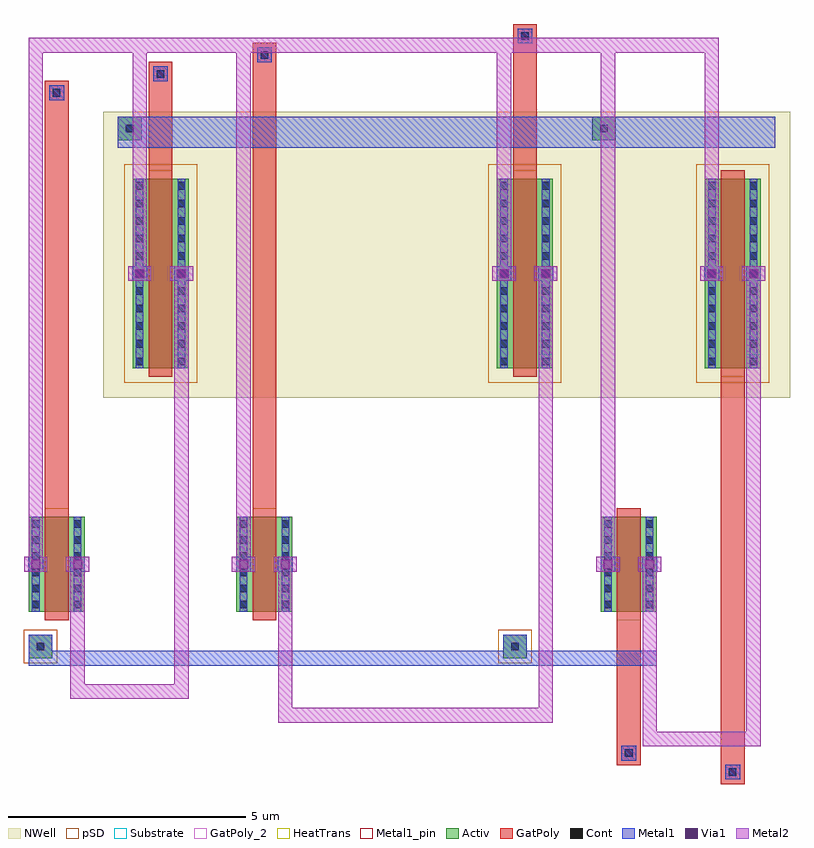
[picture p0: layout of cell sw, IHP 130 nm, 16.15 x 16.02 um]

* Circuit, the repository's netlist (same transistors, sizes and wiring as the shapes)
.subckt sw exc_out src1 src2 src3 sel0 sel0b sel1 sel1b sel2 sel2b gnd vdd
MSW1n src1 sel0 exc_out gnd sg13_lv_nmos w=2u l=0.5u ng=1 m=1
MSW1p src1 sel0b exc_out vdd sg13_lv_pmos w=4u l=0.5u ng=1 m=1
MSW2n src2 sel1 exc_out gnd sg13_lv_nmos w=2u l=0.5u ng=1 m=1
MSW2p src2 sel1b exc_out vdd sg13_lv_pmos w=4u l=0.5u ng=1 m=1
MSW3n src3 sel2 exc_out gnd sg13_lv_nmos w=2u l=0.5u ng=1 m=1
MSW3p src3 sel2b exc_out vdd sg13_lv_pmos w=4u l=0.5u ng=1 m=1
.ends sw

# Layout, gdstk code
import gdstk
lib = gdstk.Library(unit=1e-6, precision=1e-09)
def R(c, l, rs):  # rectangles x0, y0, x1, y1
    for r in rs: c.add(gdstk.rectangle(r[:2], r[2:], *l))
def A(c, l, x, y, w, h, nx, ny, dx, dy):  # array of equal rectangles
    R(c, l, [(x+i*dx, y+j*dy, x+i*dx+w, y+j*dy+h) for i in range(nx) for j in range(ny)])
Activ = (1, 0)
GatPoly = (5, 0)
GatPoly_2 = (5, 2)
Cont = (6, 0)
Metal1 = (8, 0)
Metal1_pin = (8, 2)
Metal2 = (10, 0)
pSD = (14, 0)
Via1 = (19, 0)
NWell = (31, 0)
Substrate = (40, 0)
HeatTrans = (51, 0)

nmos = lib.new_cell('nmos')
R(nmos, Activ, [(0,0,0.3,0.3), (0,0,1.18,2), (0.88,0,1.18,0.3)])
R(nmos, GatPoly, [(0.34,-0.18,0.84,2.18)])
R(nmos, GatPoly_2, [(0.34,-0.18,0.84,2.18)])
A(nmos, Cont, 0.07, 0.07, 0.16, 0.16, 1, 6, 0, 0.34)
A(nmos, Cont, 0.95, 0.07, 0.16, 0.16, 1, 6, 0, 0.34)
R(nmos, Metal1, [(0.07,0,0.23,2), (0.95,0,1.11,2)])
R(nmos, Metal1_pin, [(0.07,0,0.23,2), (0.95,0,1.11,2)])
R(nmos, HeatTrans, [(0.34,-0.18,0.84,2.18)])
nmos.add(gdstk.Label('nmos', (0.59,1), layer=63, texttype=0))
nmos.add(gdstk.Label('nmos', (0.59,1), layer=51, texttype=0))

pmos = lib.new_cell('pmos')
R(pmos, Activ, [(0,0,0.3,0.3), (0,0,1.18,4), (0.88,0,1.18,0.3)])
R(pmos, GatPoly, [(0.34,-0.18,0.84,4.18), (0.34,-0.18,0.84,4.18)])
A(pmos, Cont, 0.07, 0.07, 0.16, 0.16, 1, 11, 0, 0.37)
A(pmos, Cont, 0.95, 0.07, 0.16, 0.16, 1, 11, 0, 0.37)
R(pmos, Metal1, [(0.07,0,0.23,4), (0.07,0,0.23,4), (0.95,0,1.11,4), (0.95,0,1.11,4)])
R(pmos, pSD, [(-0.18,-0.3,1.36,4.3)])
R(pmos, NWell, [(-0.31,-0.31,1.49,4.31)])
R(pmos, Substrate, [(0.88,0,1.18,0.3)])
R(pmos, HeatTrans, [(0.34,-0.18,0.84,4.18)])
pmos.add(gdstk.Label('pmos', (0.59,2), layer=63, texttype=0))
pmos.add(gdstk.Label('pmos', (0.59,2), layer=51, texttype=0))

c_sw = lib.new_cell('sw')
R(c_sw, Activ, [(0,-0.8,0.5,-0.3), (10,-0.8,10.5,-0.3), (1.88,10.12,2.38,10.62), (11.88,10.12,12.38,10.62)])
R(c_sw, GatPoly, [(14.59,-3.45,15.09,5.13), (12.4,-3.05,12.9,0), (0.34,2.36,0.84,11.37), (4.72,2.36,5.22,12.17), (2.53,9.49,3.03,11.77), (10.21,9.49,10.71,12.57)])
R(c_sw, Cont, [(14.76,-3.28,14.92,-3.12), (12.57,-2.88,12.73,-2.72), (0.17,-0.63,0.33,-0.47), (10.17,-0.63,10.33,-0.47), (2.05,10.29,2.21,10.45), (12.05,10.29,12.21,10.45), (0.51,11.04,0.67,11.2), (2.7,11.44,2.86,11.6), (4.89,11.84,5.05,12), (10.38,12.24,10.54,12.4)])
R(c_sw, Metal1, [(14.685,-3.355,14.995,-3.045), (12.495,-2.955,12.805,-2.645), (0,-0.955,13.24,-0.645), (0,-0.8,0.5,-0.3), (10,-0.8,10.5,-0.3), (-0.005,1.025,0.305,1.335), (0.875,1.025,1.185,1.335), (4.375,1.025,4.685,1.335), (5.255,1.025,5.565,1.335), (12.055,1.025,12.365,1.335), (12.935,1.025,13.245,1.335), (2.185,7.155,2.495,7.465), (3.065,7.155,3.375,7.465), (9.865,7.155,10.175,7.465), (10.745,7.155,11.055,7.465), (14.245,7.155,14.555,7.465), (15.125,7.155,15.435,7.465), (1.88,9.965,15.74,10.62), (1.88,10.12,2.38,10.62), (11.88,10.12,12.38,10.62), (0.435,10.965,0.745,11.275), (2.625,11.365,2.935,11.675), (4.815,11.765,5.125,12.075), (10.305,12.165,10.615,12.475)])
R(c_sw, Metal2, [(12.94,-2.655,15.43,-2.345), (12.94,-2.655,13.24,1.335), (15.13,-2.655,15.43,7.465), (5.26,-2.155,5.56,1.335), (5.26,-2.155,11.05,-1.845), (10.75,-2.155,11.05,7.465), (0.88,-1.655,1.18,1.335), (0.88,-1.655,3.37,-1.345), (3.07,-1.655,3.37,7.465), (-0.095,1.025,0.395,1.335), (0,1.025,0.3,12.275), (0.785,1.025,1.275,1.335), (4.285,1.025,4.775,1.335), (4.38,1.025,4.68,12.275), (5.165,1.025,5.655,1.335), (11.965,1.025,12.455,1.335), (12.06,1.025,12.36,12.275), (12.845,1.025,13.335,1.335), (2.095,7.155,2.585,7.465), (2.19,7.155,2.49,12.275), (2.975,7.155,3.465,7.465), (9.775,7.155,10.265,7.465), (9.87,7.155,10.17,12.275), (10.655,7.155,11.145,7.465), (14.155,7.155,14.645,7.465), (14.25,7.155,14.55,12.275), (15.035,7.155,15.525,7.465), (0,11.965,14.55,12.275)])
R(c_sw, pSD, [(-0.1,-0.9,0.6,-0.2), (9.9,-0.9,10.6,-0.2)])
R(c_sw, Via1, [(0.055,1.085,0.245,1.275), (0.935,1.085,1.125,1.275), (4.435,1.085,4.625,1.275), (5.315,1.085,5.505,1.275), (12.115,1.085,12.305,1.275), (12.995,1.085,13.185,1.275), (2.245,7.215,2.435,7.405), (3.125,7.215,3.315,7.405), (9.925,7.215,10.115,7.405), (10.805,7.215,10.995,7.405), (14.305,7.215,14.495,7.405), (15.185,7.215,15.375,7.405)])
R(c_sw, NWell, [(1.57,4.69,16.05,10.72)])
c_sw.add(gdstk.Reference(nmos, (0,0.18)))
c_sw.add(gdstk.Reference(pmos, (2.19,5.31)))
c_sw.add(gdstk.Reference(nmos, (4.38,0.18)))
c_sw.add(gdstk.Reference(pmos, (9.87,5.31)))
c_sw.add(gdstk.Reference(nmos, (12.06,0.18)))
c_sw.add(gdstk.Reference(pmos, (14.25,5.31)))

lib.write_gds('sw.gds')
